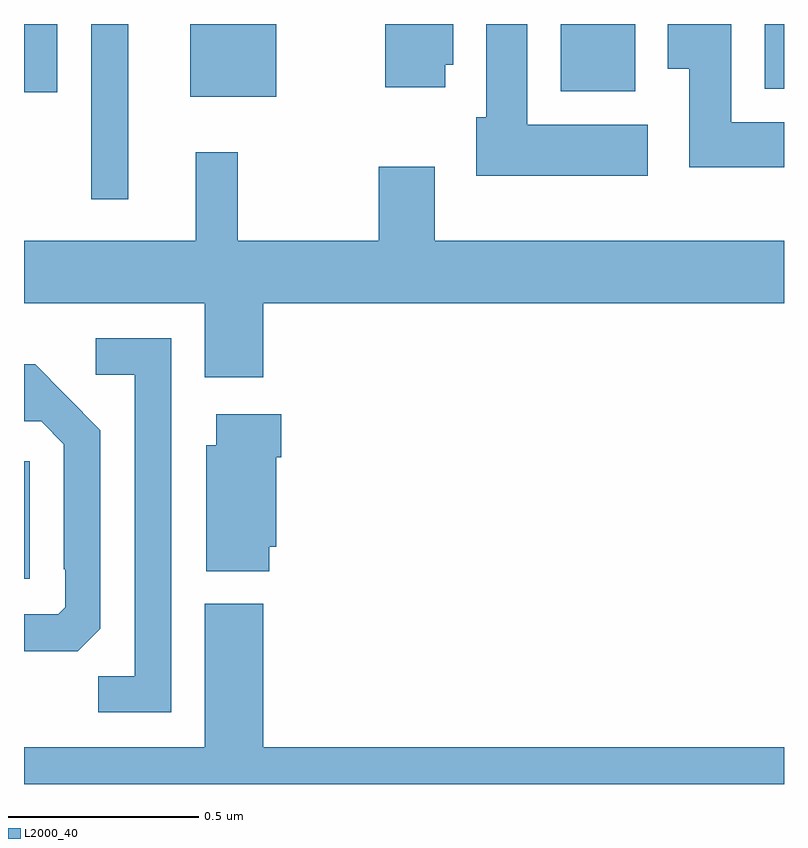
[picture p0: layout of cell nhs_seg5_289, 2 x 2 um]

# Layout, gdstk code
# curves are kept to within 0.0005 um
import gdstk
lib = gdstk.Library(unit=1e-6, precision=1e-09)
def R(c, l, rs):  # rectangles x0, y0, x1, y1
    for r in rs: c.add(gdstk.rectangle(r[:2], r[2:], *l))
def P(c, l, *ps):  # polygons
    for p in ps: c.add(gdstk.Polygon(p, *l))
L2000_40 = (2000, 40)

nhs_seg5_289 = lib.new_cell('nhs_seg5_289')
R(nhs_seg5_289, L2000_40, [(114,885.339,114.015,885.649), (114.177,886.338,114.274,886.799), (114.437,886.607,114.664,886.799), (114,886.619,114.088,886.799), (115.412,886.622,115.609,886.799), (115.949,886.628,116,886.799)])
P(nhs_seg5_289, L2000_40, [(116,886.54),(115.861,886.54),(115.861,886.799),(115.694,886.799),(115.694,886.681),(115.751,886.681),(115.751,886.422),(116,886.422)],
  [(115.642,886.534),(115.324,886.534),(115.324,886.799),(115.217,886.799),(115.217,886.554),(115.19,886.554),(115.19,886.4),(115.642,886.4)],
  [(115.108,886.692),(115.129,886.692),(115.129,886.799),(114.95,886.799),(114.95,886.632),(115.108,886.632)],
  [(114.629,886.064),(116,886.064),(116,886.228),(115.081,886.228),(115.081,886.423),(114.934,886.423),(114.934,886.228),(114.562,886.228),(114.562,886.462),(114.452,886.462),(114.452,886.228),(114,886.228),(114,886.064),(114.476,886.064),(114.476,885.87),(114.629,885.87)],
  [(114.387,885.972),(114.189,885.972),(114.189,885.876),(114.291,885.876),(114.291,885.083),(114.196,885.083),(114.196,884.988),(114.387,884.988)],
  [(114.041,885.149),(114.142,885.149),(114.201,885.208),(114.201,885.73),(114.029,885.904),(114,885.904),(114,885.753),(114.045,885.753),(114.105,885.693),(114.105,885.364),(114.108,885.364),(114.108,885.264),(114.09,885.246),(114,885.246),(114,885.148),(114.041,885.148)],
  [(114.646,885.423),(114.664,885.423),(114.664,885.659),(114.677,885.659),(114.677,885.772),(114.506,885.772),(114.506,885.69),(114.479,885.69),(114.479,885.359),(114.646,885.359)],
  [(116,884.896),(114.629,884.896),(114.629,885.274),(114.476,885.274),(114.476,884.896),(114,884.896),(114,884.799),(116,884.799)])

lib.write_gds('nhs_seg5_289.gds')
